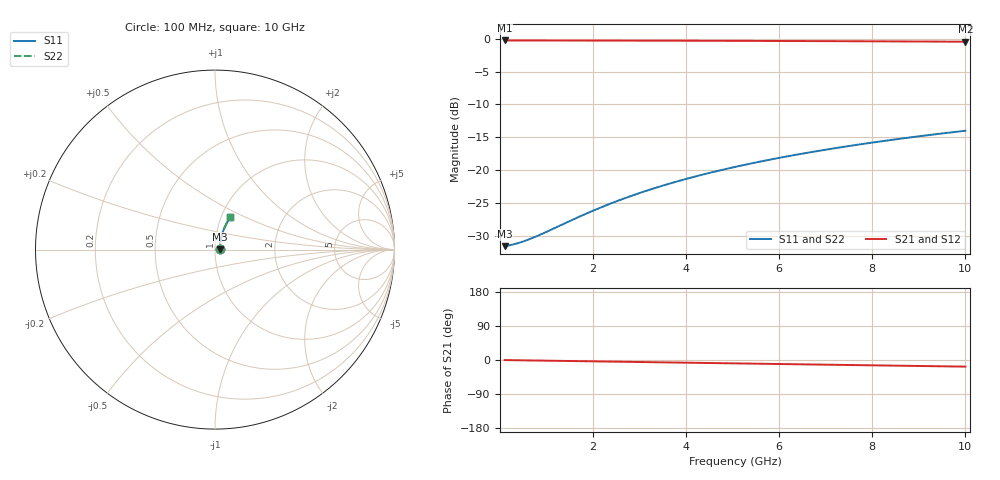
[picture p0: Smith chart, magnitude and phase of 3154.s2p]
# Hz S RI R 50.00
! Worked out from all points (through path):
!   100 points, 100 MHz to 10 GHz, reference 50 ohm
!   highest |S21| = -0.23 dB at 100 MHz (marker M1); lowest = -0.4 dB at 10 GHz (marker M2)
!   group delay of S21, straight-line fit = 4.86 ps
!   lowest |S11| = -31.6 dB at 100 MHz (marker M3), VSWR 1.05, Z = 52.7 + j0.206 ohm
!   |S11| at or under -10 dB: start of sweep to end of sweep
!   |S22| runs from -31.6 to -14.0 dB; largest |S21 - S12| = 0
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1e8  0.0262 0.00195  0.9738 -0.00301  0.9738 -0.00301  0.0262 0.00195
3e8  0.0265 0.00586  0.9735 -0.00903  0.9735 -0.00903  0.0265 0.00586
4e8  0.0266 0.00781  0.9733 -0.012  0.9733 -0.012  0.0266 0.00781
5e8  0.0268 0.00976  0.9732 -0.0151  0.9732 -0.0151  0.0268 0.00976
7e8  0.0271 0.0137  0.9729 -0.0211  0.9729 -0.0211  0.0271 0.0137
1e9  0.0275 0.0195  0.9724 -0.0301  0.9724 -0.0301  0.0275 0.0195
1.8e9  0.0292 0.035  0.9706 -0.0541  0.9706 -0.0541  0.0292 0.035
2.2e9  0.0303 0.0427  0.9694 -0.066  0.9694 -0.066  0.0303 0.0427
2.6e9  0.0316 0.0504  0.968 -0.0779  0.968 -0.0779  0.0316 0.0504
3e9  0.033 0.058  0.9665 -0.0898  0.9665 -0.0898  0.033 0.058
3.4e9  0.0346 0.0656  0.9647 -0.1016  0.9647 -0.1016  0.0346 0.0656
3.8e9  0.0364 0.0731  0.9627 -0.1134  0.9627 -0.1134  0.0364 0.0731
4.2e9  0.0384 0.0806  0.9606 -0.1251  0.9606 -0.1251  0.0384 0.0806
4.6e9  0.0405 0.088  0.9582 -0.1368  0.9582 -0.1368  0.0405 0.088
5.1e9  0.0435 0.0972  0.955 -0.1513  0.955 -0.1513  0.0435 0.0972
5.5e9  0.046 0.1045  0.9522 -0.1628  0.9522 -0.1628  0.046 0.1045
5.9e9  0.0487 0.1117  0.9492 -0.1743  0.9492 -0.1743  0.0487 0.1117
6.7e9  0.0547 0.1258  0.9427 -0.1969  0.9427 -0.1969  0.0547 0.1258
7.5e9  0.0613 0.1396  0.9355 -0.2192  0.9355 -0.2192  0.0613 0.1396
8.4e9  0.0694 0.1546  0.9265 -0.2438  0.9265 -0.2438  0.0694 0.1546
9.2e9  0.0773 0.1675  0.9178 -0.2652  0.9178 -0.2652  0.0773 0.1675
1e10  0.0857 0.1799  0.9084 -0.2862  0.9084 -0.2862  0.0857 0.1799
